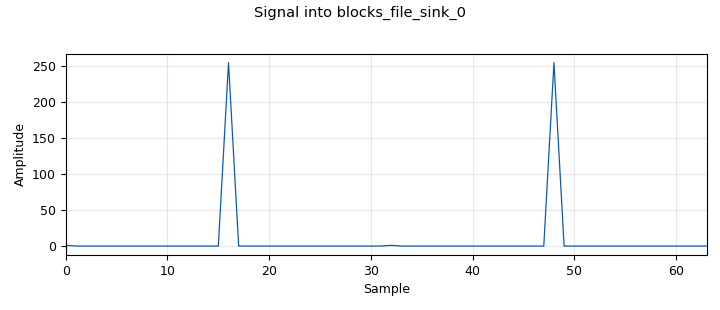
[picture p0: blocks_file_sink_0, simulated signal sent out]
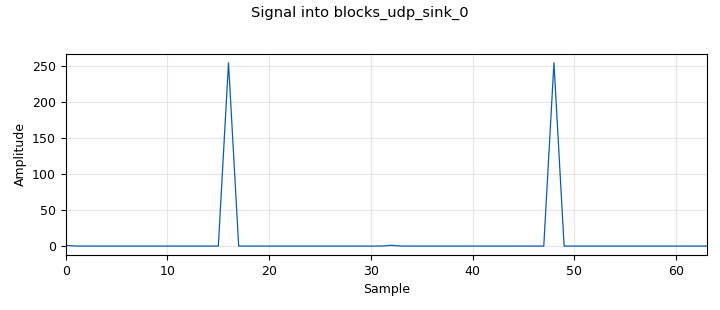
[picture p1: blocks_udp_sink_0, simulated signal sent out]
options:
  parameters:
    generate_options: no_gui
    id: client_run_to_completion
    output_language: python
    run_options: run
    title: client-run-to-completion
  states: {}

blocks:
- name: samp_rate
  id: variable
  parameters:
    value: '32000'
  states: {}
- name: size
  id: variable
  parameters:
    value: '100000'
  states: {}
- name: analog_sig_source_x_0
  id: analog_sig_source_x
  parameters:
    amp: '1'
    freq: '1000'
    offset: '0'
    phase: '0'
    samp_rate: samp_rate
    type: byte
    waveform: analog.GR_COS_WAVE
  states: {}
- name: blocks_file_descriptor_sink_0
  id: blocks_file_descriptor_sink
  parameters:
    fd: '1'
    type: byte
  states: {state: disabled}
- name: blocks_file_sink_0
  id: blocks_file_sink
  parameters:
    file: client-run-to-completion.out
    type: byte
    unbuffered: 'True'
  states: {}
- name: blocks_head_0
  id: blocks_head
  parameters:
    num_items: size
    type: byte
  states: {}
- name: blocks_throttle_0
  id: blocks_throttle
  parameters:
    samples_per_second: samp_rate
    type: byte
  states: {}
- name: blocks_udp_sink_0
  id: blocks_udp_sink
  parameters:
    eof: 'True'
    ipaddr: 127.0.0.1
    port: '5987'
    psize: '1472'
    type: byte
    vlen: '1'
  states: {}

connections:
- [analog_sig_source_x_0, '0', blocks_throttle_0, '0']
- [blocks_head_0, '0', blocks_file_descriptor_sink_0, '0']
- [blocks_head_0, '0', blocks_file_sink_0, '0']
- [blocks_head_0, '0', blocks_udp_sink_0, '0']
- [blocks_throttle_0, '0', blocks_head_0, '0']

metadata:
  file_format: 1
